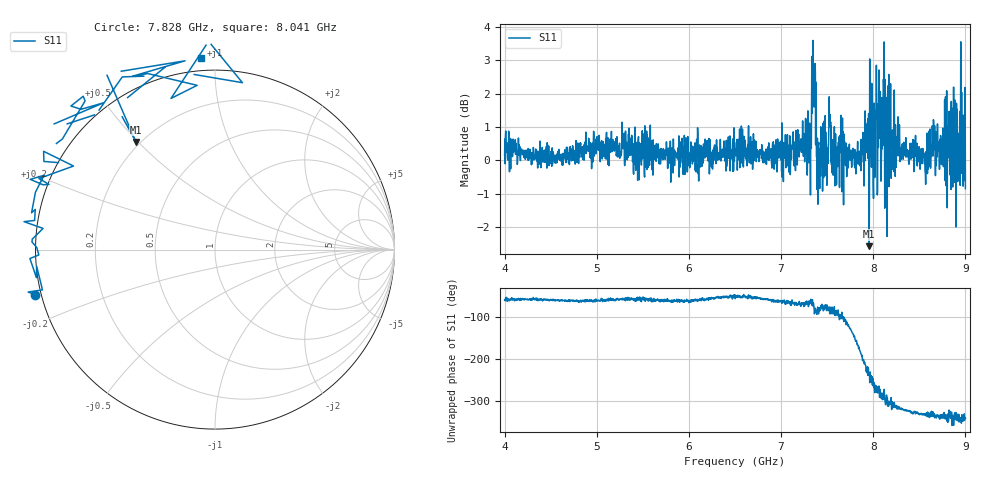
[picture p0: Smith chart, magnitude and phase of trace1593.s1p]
! Created with skrf 1.8.0 (http://scikit-rf.org).
# Hz S RI R 50.0
!freq ReS11 ImS11
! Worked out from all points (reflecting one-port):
!   1601 points, 4 GHz to 9 GHz, reference 50 ohm
!   lowest |S11| = -2.6 dB at 7.956 GHz (marker M1), VSWR 6.80, Z = 9.18 + j24.6 ohm
!   phase of S11 starts at -59 deg and turns -280 deg over the sweep
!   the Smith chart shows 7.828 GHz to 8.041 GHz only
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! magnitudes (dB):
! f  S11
! 4 GHz  0.2
! 4.625 GHz  -0.1
! 5.25 GHz  0.1
! 5.875 GHz  0.0
! 6.5 GHz  0.3
! 7.125 GHz  0.6
! 7.306 GHz  0.8
! 7.356 GHz  2.6
! 7.412 GHz  -0.4
! 7.538 GHz  1.2
! 7.609 GHz  0.2
! 7.647 GHz  0.4
! 7.75 GHz  0.0
! 7.875 GHz  0.2
! 7.928 GHz  1.1
! 7.956 GHz  -2.6
! 8.022 GHz  1.5
! 8.05 GHz  1.7
! 8.066 GHz  0.7
! 8.116 GHz  2.0
! 8.197 GHz  0.4
! 8.375 GHz  0.3
! 8.572 GHz  0.0
! 8.656 GHz  1.1
! 8.919 GHz  -0.6
! 8.953 GHz  -0.4
! 8.972 GHz  0.4
! 9 GHz  -0.8
